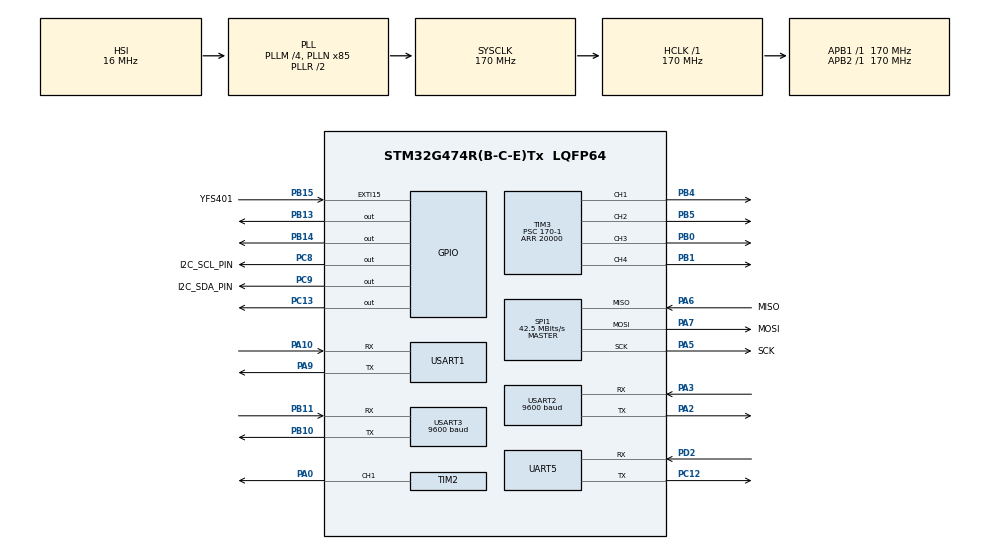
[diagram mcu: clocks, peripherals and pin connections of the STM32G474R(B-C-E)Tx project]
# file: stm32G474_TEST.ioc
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Dma.Request0=USART1_TX
Dma.Request1=USART2_TX
Dma.Request2=USART2_RX
Dma.Request3=USART3_RX
Dma.Request4=USART3_TX
Dma.USART1_TX.0.Direction=DMA_MEMORY_TO_PERIPH
Dma.USART1_TX.0.EventEnable=DISABLE
Dma.USART1_TX.0.Instance=DMA1_Channel1
Dma.USART1_TX.0.MemDataAlignment=DMA_MDATAALIGN_BYTE
Dma.USART1_TX.0.MemInc=DMA_MINC_ENABLE
Dma.USART1_TX.0.Mode=DMA_NORMAL
Dma.USART1_TX.0.PeriphDataAlignment=DMA_PDATAALIGN_BYTE
Dma.USART1_TX.0.PeriphInc=DMA_PINC_DISABLE
Dma.USART1_TX.0.Polarity=HAL_DMAMUX_REQ_GEN_RISING
Dma.USART1_TX.0.Priority=DMA_PRIORITY_LOW
Dma.USART1_TX.0.RequestNumber=1
Dma.USART1_TX.0.SignalID=NONE
Dma.USART1_TX.0.SyncEnable=DISABLE
Dma.USART1_TX.0.SyncPolarity=HAL_DMAMUX_SYNC_NO_EVENT
Dma.USART1_TX.0.SyncRequestNumber=1
Dma.USART1_TX.0.SyncSignalID=NONE
Dma.USART2_RX.2.Direction=DMA_PERIPH_TO_MEMORY
Dma.USART2_RX.2.EventEnable=DISABLE
Dma.USART2_RX.2.Instance=DMA1_Channel3
Dma.USART2_RX.2.MemDataAlignment=DMA_MDATAALIGN_BYTE
Dma.USART2_RX.2.MemInc=DMA_MINC_ENABLE
Dma.USART2_RX.2.Mode=DMA_NORMAL
Dma.USART2_RX.2.PeriphDataAlignment=DMA_PDATAALIGN_BYTE
Dma.USART2_RX.2.PeriphInc=DMA_PINC_DISABLE
Dma.USART2_RX.2.Polarity=HAL_DMAMUX_REQ_GEN_RISING
Dma.USART2_RX.2.Priority=DMA_PRIORITY_LOW
Dma.USART2_RX.2.RequestNumber=1
Dma.USART2_RX.2.SignalID=NONE
Dma.USART2_RX.2.SyncEnable=DISABLE
Dma.USART2_RX.2.SyncPolarity=HAL_DMAMUX_SYNC_NO_EVENT
Dma.USART2_RX.2.SyncRequestNumber=1
Dma.USART2_RX.2.SyncSignalID=NONE
Dma.USART2_TX.1.Direction=DMA_MEMORY_TO_PERIPH
Dma.USART2_TX.1.EventEnable=DISABLE
Dma.USART2_TX.1.Instance=DMA1_Channel2
Dma.USART2_TX.1.MemDataAlignment=DMA_MDATAALIGN_BYTE
Dma.USART2_TX.1.MemInc=DMA_MINC_ENABLE
Dma.USART2_TX.1.Mode=DMA_NORMAL
Dma.USART2_TX.1.PeriphDataAlignment=DMA_PDATAALIGN_BYTE
Dma.USART2_TX.1.PeriphInc=DMA_PINC_DISABLE
Dma.USART2_TX.1.Polarity=HAL_DMAMUX_REQ_GEN_RISING
Dma.USART2_TX.1.Priority=DMA_PRIORITY_LOW
Dma.USART2_TX.1.RequestNumber=1
Dma.USART2_TX.1.SignalID=NONE
Dma.USART2_TX.1.SyncEnable=DISABLE
Dma.USART2_TX.1.SyncPolarity=HAL_DMAMUX_SYNC_NO_EVENT
Dma.USART2_TX.1.SyncRequestNumber=1
Dma.USART2_TX.1.SyncSignalID=NONE
Dma.USART3_RX.3.Direction=DMA_PERIPH_TO_MEMORY
Dma.USART3_RX.3.EventEnable=DISABLE
Dma.USART3_RX.3.Instance=DMA1_Channel4
Dma.USART3_RX.3.MemDataAlignment=DMA_MDATAALIGN_BYTE
Dma.USART3_RX.3.MemInc=DMA_MINC_ENABLE
Dma.USART3_RX.3.Mode=DMA_NORMAL
Dma.USART3_RX.3.PeriphDataAlignment=DMA_PDATAALIGN_BYTE
Dma.USART3_RX.3.PeriphInc=DMA_PINC_DISABLE
Dma.USART3_RX.3.Polarity=HAL_DMAMUX_REQ_GEN_RISING
Dma.USART3_RX.3.Priority=DMA_PRIORITY_LOW
Dma.USART3_RX.3.RequestNumber=1
Dma.USART3_RX.3.SignalID=NONE
Dma.USART3_RX.3.SyncEnable=DISABLE
Dma.USART3_RX.3.SyncPolarity=HAL_DMAMUX_SYNC_NO_EVENT
Dma.USART3_RX.3.SyncRequestNumber=1
Dma.USART3_RX.3.SyncSignalID=NONE
Dma.USART3_TX.4.Direction=DMA_MEMORY_TO_PERIPH
Dma.USART3_TX.4.EventEnable=DISABLE
Dma.USART3_TX.4.Instance=DMA1_Channel5
Dma.USART3_TX.4.MemDataAlignment=DMA_MDATAALIGN_BYTE
Dma.USART3_TX.4.MemInc=DMA_MINC_ENABLE
Dma.USART3_TX.4.Mode=DMA_NORMAL
Dma.USART3_TX.4.PeriphDataAlignment=DMA_PDATAALIGN_BYTE
Dma.USART3_TX.4.PeriphInc=DMA_PINC_DISABLE
Dma.USART3_TX.4.Polarity=HAL_DMAMUX_REQ_GEN_RISING
Dma.USART3_TX.4.Priority=DMA_PRIORITY_LOW
Dma.USART3_TX.4.RequestNumber=1
Dma.USART3_TX.4.SignalID=NONE
Dma.USART3_TX.4.SyncEnable=DISABLE
Dma.USART3_TX.4.SyncPolarity=HAL_DMAMUX_SYNC_NO_EVENT
Dma.USART3_TX.4.SyncRequestNumber=1
Dma.USART3_TX.4.SyncSignalID=NONE
Mcu.Family=STM32G4
Mcu.Name=STM32G474R(B-C-E)Tx
Mcu.Package=LQFP64
NVIC.DMA1_Channel1_IRQn=true\:0\:0\:false\:false\:true\:false\:true\:true
NVIC.DMA1_Channel2_IRQn=true\:0\:0\:false\:false\:true\:false\:true\:true
NVIC.DMA1_Channel3_IRQn=true\:0\:0\:false\:false\:true\:false\:true\:true
NVIC.DMA1_Channel4_IRQn=true\:0\:0\:false\:false\:true\:false\:true\:true
NVIC.DMA1_Channel5_IRQn=true\:0\:0\:false\:false\:true\:false\:true\:true
NVIC.EXTI15_10_IRQn=true\:1\:0\:true\:false\:true\:true\:true\:true
NVIC.PriorityGroup=NVIC_PRIORITYGROUP_4
NVIC.TIM2_IRQn=true\:0\:0\:false\:false\:true\:true\:true\:true
NVIC.TIM3_IRQn=true\:0\:0\:false\:false\:true\:true\:true\:true
NVIC.TIM7_DAC_IRQn=true\:0\:0\:false\:false\:true\:true\:true\:true
NVIC.UART5_IRQn=true\:0\:0\:false\:false\:true\:true\:true\:true
NVIC.USART1_IRQn=true\:0\:0\:false\:false\:true\:true\:true\:true
NVIC.USART2_IRQn=true\:0\:0\:false\:false\:true\:true\:true\:true
NVIC.USART3_IRQn=true\:0\:0\:false\:false\:true\:true\:true\:true
PA0.Signal=S_TIM2_CH1
PA10.Mode=Asynchronous
PA10.Signal=USART1_RX
PA13.Mode=Serial_Wire
PA13.Signal=SYS_JTMS-SWDIO
PA14.Mode=Serial_Wire
PA14.Signal=SYS_JTCK-SWCLK
PA2.Mode=Asynchronous
PA2.Signal=USART2_TX
PA3.Mode=Asynchronous
PA3.Signal=USART2_RX
PA5.GPIO_Label=SCK
PA5.GPIO_Speed=GPIO_SPEED_FREQ_HIGH
PA5.Mode=Full_Duplex_Master
PA5.Signal=SPI1_SCK
PA6.GPIO_Label=MISO
PA6.GPIO_Speed=GPIO_SPEED_FREQ_HIGH
PA6.Mode=Full_Duplex_Master
PA6.Signal=SPI1_MISO
PA7.GPIO_Label=MOSI
PA7.GPIO_Speed=GPIO_SPEED_FREQ_HIGH
PA7.Mode=Full_Duplex_Master
PA7.Signal=SPI1_MOSI
PA9.Mode=Asynchronous
PA9.Signal=USART1_TX
PB0.Signal=S_TIM3_CH3
PB1.Signal=S_TIM3_CH4
PB10.Mode=Asynchronous
PB10.Signal=USART3_TX
PB11.Mode=Asynchronous
PB11.Signal=USART3_RX
PB13.Signal=GPIO_Output
PB14.Signal=GPIO_Output
PB15.GPIO_Label=YFS401
PB15.GPIO_ModeDefaultEXTI=GPIO_MODE_IT_FALLING
PB15.GPIO_PuPd=GPIO_PULLUP
PB15.Signal=GPXTI15
PB4.Signal=S_TIM3_CH1
PB5.Signal=S_TIM3_CH2
PC12.Mode=Asynchronous
PC12.Signal=UART5_TX
PC13.Signal=GPIO_Output
PC8.GPIO_Label=I2C_SCL_PIN
PC8.GPIO_ModeDefaultOutputPP=GPIO_MODE_OUTPUT_OD
PC8.GPIO_PuPd=GPIO_PULLUP
PC8.GPIO_Speed=GPIO_SPEED_FREQ_VERY_HIGH
PC8.Signal=GPIO_Output
PC9.GPIO_Label=I2C_SDA_PIN
PC9.GPIO_ModeDefaultOutputPP=GPIO_MODE_OUTPUT_OD
PC9.GPIO_PuPd=GPIO_PULLUP
PC9.GPIO_Speed=GPIO_SPEED_FREQ_VERY_HIGH
PC9.Signal=GPIO_Output
PD2.Mode=Asynchronous
PD2.Signal=UART5_RX
PF0-OSC_IN.Mode=HSE-External-Oscillator
PF0-OSC_IN.Signal=RCC_OSC_IN
PF1-OSC_OUT.Mode=HSE-External-Oscillator
PF1-OSC_OUT.Signal=RCC_OSC_OUT
ProjectManager.HeapSize=0x200
ProjectManager.StackSize=0x400
ProjectManager.TargetToolchain=MDK-ARM V5.32
RCC.ADC12Freq_Value=170000000
RCC.ADC345Freq_Value=170000000
RCC.AHBFreq_Value=170000000
RCC.APB1Freq_Value=170000000
RCC.APB1TimFreq_Value=170000000
RCC.APB2Freq_Value=170000000
RCC.APB2TimFreq_Value=170000000
RCC.CortexFreq_Value=170000000
RCC.EXTERNAL_CLOCK_VALUE=12288000
RCC.HCLKFreq_Value=170000000
RCC.HSE_VALUE=8000000
RCC.HSI48_VALUE=48000000
RCC.HSI_VALUE=16000000
RCC.LSE_VALUE=32768
RCC.PLLM=RCC_PLLM_DIV4
RCC.PLLN=85
RCC.SYSCLKFreq_VALUE=170000000
RCC.SYSCLKSource=RCC_SYSCLKSOURCE_PLLCLK
RCC.USBFreq_Value=170000000
RCC.VCOOutputFreq_Value=340000000
SH.S_TIM2_CH1.0=TIM2_CH1,PWM Generation1 CH1
SH.S_TIM3_CH1.0=TIM3_CH1,PWM Generation1 CH1
SH.S_TIM3_CH2.0=TIM3_CH2,PWM Generation2 CH2
SH.S_TIM3_CH3.0=TIM3_CH3,PWM Generation3 CH3
SH.S_TIM3_CH4.0=TIM3_CH4,PWM Generation4 CH4
SPI1.BaudRatePrescaler=SPI_BAUDRATEPRESCALER_4
SPI1.CLKPhase=SPI_PHASE_2EDGE
SPI1.CLKPolarity=SPI_POLARITY_HIGH
SPI1.CalculateBaudRate=42.5 MBits/s
SPI1.DataSize=SPI_DATASIZE_8BIT
SPI1.Direction=SPI_DIRECTION_2LINES
SPI1.Mode=SPI_MODE_MASTER
SPI1.VirtualType=VM_MASTER
TIM2.Channel-PWM\ Generation1\ CH1=TIM_CHANNEL_1
TIM2.PeriodNoDither=999
TIM2.Prescaler=169
TIM3.Channel-PWM\ Generation1\ CH1=TIM_CHANNEL_1
TIM3.Channel-PWM\ Generation2\ CH2=TIM_CHANNEL_2
TIM3.Channel-PWM\ Generation3\ CH3=TIM_CHANNEL_3
TIM3.Channel-PWM\ Generation4\ CH4=TIM_CHANNEL_4
TIM3.OCMode_PWM-PWM\ Generation1\ CH1=TIM_OCMODE_PWM1
TIM3.PeriodNoDither=20000
TIM3.Prescaler=170-1
TIM7.PeriodNoDither=9999
TIM7.Prescaler=16999
USART1.VirtualMode-Asynchronous=VM_ASYNC
USART2.BaudRate=9600
USART2.VirtualMode-Asynchronous=VM_ASYNC
USART3.BaudRate=9600
USART3.VirtualMode-Asynchronous=VM_ASYNC
VP_SYS_VS_DBSignals.Mode=DisableDeadBatterySignals
VP_SYS_V_VREFBUF.Mode=ExternalMode
VP_TIM2_VS_ClockSourceINT.Mode=Internal
VP_TIM3_VS_ClockSourceINT.Mode=Internal
VP_TIM7_VS_ClockSourceINT.Mode=Enable_Timer
board=custom

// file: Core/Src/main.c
/* USER CODE BEGIN Header */
/**
  ******************************************************************************
  * @file           : main.c
  * @brief          : Main program body
  ******************************************************************************
  * @attention
  *
  * Copyright (c) 2026 STMicroelectronics.
  * All rights reserved.
  *
  * This software is licensed under terms that can be found in the LICENSE file
  * in the root directory of this software component.
  * If no LICENSE file comes with this software, it is provided AS-IS.
  *
  ******************************************************************************
  */
/* USER CODE END Header */
#include "main.h"
#include "dma.h"
#include "spi.h"
#include "tim.h"
#include "usart.h"
#include "gpio.h"

/* USER CODE BEGIN Includes */
#include "HC_05.h"
#include "software_I2C.h"
#include "bsp_oled.h"
#include "SHT40.h"
#include <stdio.h>
#include <string.h>
#include "My_PWM.h"
#include "flow_sensor.h"
#include "tjc_usart_hmi.h"

extern void LED_SetBrightness(uint8_t level);

/* USER CODE END Includes */

/* USER CODE BEGIN PTD */
//啊啊啊啊
/* USER CODE END PTD */

/* USER CODE BEGIN PV */
#define RX_BUFFER_SIZE 100
uint8_t rx_single_byte;
uint8_t rx_buffer[RX_BUFFER_SIZE];
uint16_t rx_index = 0;
uint8_t rx_complete_flag = 0;

typedef struct {
    uint8_t enable;
    uint8_t target_flow_digit1;
    uint8_t target_flow_digit2;
    uint8_t target_flow_digit3;
    uint32_t target_flow;
    uint8_t motor_running;
} SprayControl_t;
SprayControl_t spray_control = {0};

/* USER CODE END PV */

void SystemClock_Config(void);

int main(void)
{

  /* MCU Configuration--------------------------------------------------------*/

  /* Reset of all peripherals, Initializes the Flash interface and the Systick. */
  HAL_Init();

  /* Configure the system clock */
  SystemClock_Config();

  /* Initialize all configured peripherals */
  MX_GPIO_Init();
  MX_DMA_Init();
  MX_USART1_UART_Init();
  MX_USART2_UART_Init();
  MX_USART3_UART_Init();
  MX_SPI1_Init();
  MX_TIM3_Init();
  MX_TIM7_Init();
  MX_UART5_Init();
  MX_TIM2_Init();
  /* USER CODE BEGIN 2 */
		MyI2C_Init();
    LOG_I("Start initialization...");
    PWM_Init();		        // 先初始化PWM，启动TIM3通道
    LOG_I("PWM_Init done");
    Motor_Stop();           // 先停止电机，关闭方向GPIO
    dianji_zhuan_one(0);   // 电机1初始停止（PWM设为0）
    LOG_I("dianji_zhuan_one(0) done");
		dianji_zhuan_two(0);   // 电机2初始停止
    LOG_I("dianji_zhuan_two(0) done");
		OLED_Init();
		OLED_Clear();
		SHT40_Init(SHT40_MODE_MANUAL);
		flow_sensor_Init();
		initRingBuffer();
		USART_RX_STA = 0;
		memset(USART_RX_BUF, 0, sizeof(USART_RX_BUF));
    HAL_UART_Receive_IT(&huart5, RxBuffer, 1);
		uint8_t t;
    uint8_t len;
    uint16_t times = 0;

int test_num = 0;
float test_float = 0;
HAL_TIM_PWM_Start(&htim2, TIM_CHANNEL_1);

  /* USER CODE END 2 */

  /* Infinite loop */
  /* USER CODE BEGIN WHILE */

  while (1)
    {
        // 每秒读取一次流量（由TIM7中断触发）
        if(golbal_flow.receive_flag) {
            Flow_Read();
        }
//		duoji_zhuan_one(90);
		 if (USART_RX_STA & 0x8000) {
            len = USART_RX_STA & 0x3fff;
			 if(USART_RX_BUF[0]=='L')
			 {
         uint8_t brightness=0;
    sscanf((char*)&USART_RX_BUF[1], "%hhu", &brightness);
    LED_SetBrightness(brightness);
			 }
  else if (USART_RX_BUF[0] == '1') // 0x31
            {
							LOG_I("%s",USART_RX_BUF);
                duoji_zhuan_one(90);

            }
 else if (USART_RX_BUF[0] == '2') // 0x32
            {
                duoji_zhuan_one(0);

            }
  else if (USART_RX_BUF[0] == '3') // 0x33
            {
               duoji_zhuan_two(90);

            }
	else if (USART_RX_BUF[0] == '4') // 0x34
            {
                duoji_zhuan_two(0);

            }
			else if (USART_RX_BUF[0] == 'w')
            {
                LOG_I("w command received, len=%d, buf=%s", len, USART_RX_BUF);
                spray_control.target_flow = 0;
                spray_control.motor_running = 0;

                uint32_t flow_value = 0;
                if (len == 3) {
                    flow_value = (USART_RX_BUF[1] - '0') * 10 + (USART_RX_BUF[2] - '0');
                    LOG_I("len=3, parsed flow_value=%lu from %c%c", flow_value, USART_RX_BUF[1], USART_RX_BUF[2]);
                } else if (len == 4) {
                    flow_value = (USART_RX_BUF[1] - '0') * 100 + (USART_RX_BUF[2] - '0') * 10 + (USART_RX_BUF[3] - '0');
                    LOG_I("len=4, parsed flow_value=%lu from %c%c%c", flow_value, USART_RX_BUF[1], USART_RX_BUF[2], USART_RX_BUF[3]);
                } else if (len == 5) {
                    flow_value = (USART_RX_BUF[1] - '0') * 10 + (USART_RX_BUF[2] - '0');
                    LOG_I("len=5, parsed flow_value=%lu from %c%c", flow_value, USART_RX_BUF[1], USART_RX_BUF[2]);
                } else {
                    LOG_I("len=%d, flow_value=0 (default)", len);
                }
                LOG_I("Final flow_value=%lu", flow_value);
                spray_control.target_flow = flow_value;

                if (flow_value > 0)
                {
                    LOG_I("Flow > 0, starting motor speed=100");
                    dianji_zhuan_one(100);
                    spray_control.motor_running = 1;
                } else if (flow_value == 0) {
                    LOG_I("Flow = 0, STOPPING motor");
                    dianji_zhuan_one(0);
                    Motor_Stop();
                    spray_control.motor_running = 0;
                }

                if (flow_value == 0) {
                    LOG_I("Updating t4 to STOP");
                    uint8_t stop_msg[] = "t4.txt=\"\xcd\xa3\xd6\xb9\"";
                    tjc_send_nstring((char*)stop_msg, sizeof(stop_msg)-1);
                } else if (flow_value == 30) {
                    LOG_I("Updating t4 to LOW");
                    uint8_t low_msg[] = "t4.txt=\"\xb5\xcd\xc5\xe8\xc1\xbf\"";
                    tjc_send_nstring((char*)low_msg, sizeof(low_msg)-1);
                } else if (flow_value == 60) {
                    LOG_I("Updating t4 to MID");
                    uint8_t mid_msg[] = "t4.txt=\"\xd6\xd0\xc5\xe8\xc1\xbf\"";
                    tjc_send_nstring((char*)mid_msg, sizeof(mid_msg)-1);
                } else if (flow_value == 90) {
                    LOG_I("Updating t4 to HIGH");
                    uint8_t high_msg[] = "t4.txt=\"\xb8\xdf\xc5\xe8\xc1\xbf\"";
                    tjc_send_nstring((char*)high_msg, sizeof(high_msg)-1);
                } else {
                    LOG_I("flow_value=%lu, no t4 update", flow_value);
                }
            }
            USART_RX_STA = 0;
        } else {
                if (spray_control.motor_running && spray_control.target_flow >= 0 && (uint32_t)golbal_flow.acculat >= spray_control.target_flow)
                {
                    dianji_zhuan_one(0);
                    Motor_Stop();
                    spray_control.motor_running = 0;
                    tjc_send_string("page 3");
                    uint8_t complete_msg[] = "t3.txt=\"\xcd\xea\xb3\xc9\"";
                    tjc_send_nstring((char*)complete_msg, sizeof(complete_msg)-1);
                    LOG_I("Spray completed, flow reached: %.2f mL, target: %lu mL", golbal_flow.acculat, spray_control.target_flow);
                }
            }

    /* USER CODE END WHILE */

  }
}

void SystemClock_Config(void)
{
  RCC_OscInitTypeDef RCC_OscInitStruct = {0};
  RCC_ClkInitTypeDef RCC_ClkInitStruct = {0};

  /** Configure the main internal regulator output voltage
  */
  HAL_PWREx_ControlVoltageScaling(PWR_REGULATOR_VOLTAGE_SCALE1_BOOST);

  /** Initializes the RCC Oscillators according to the specified parameters
  * in the RCC_OscInitTypeDef structure.
  */
  RCC_OscInitStruct.OscillatorType = RCC_OSCILLATORTYPE_HSI;
  RCC_OscInitStruct.HSIState = RCC_HSI_ON;
  RCC_OscInitStruct.HSICalibrationValue = RCC_HSICALIBRATION_DEFAULT;
  RCC_OscInitStruct.PLL.PLLState = RCC_PLL_ON;
  RCC_OscInitStruct.PLL.PLLSource = RCC_PLLSOURCE_HSI;
  RCC_OscInitStruct.PLL.PLLM = RCC_PLLM_DIV4;
  RCC_OscInitStruct.PLL.PLLN = 85;
  RCC_OscInitStruct.PLL.PLLP = RCC_PLLP_DIV2;
  RCC_OscInitStruct.PLL.PLLQ = RCC_PLLQ_DIV2;
  RCC_OscInitStruct.PLL.PLLR = RCC_PLLR_DIV2;
  if (HAL_RCC_OscConfig(&RCC_OscInitStruct) != HAL_OK)
  {
    Error_Handler();
  }

  /** Initializes the CPU, AHB and APB buses clocks
  */
  RCC_ClkInitStruct.ClockType = RCC_CLOCKTYPE_HCLK|RCC_CLOCKTYPE_SYSCLK
                              |RCC_CLOCKTYPE_PCLK1|RCC_CLOCKTYPE_PCLK2;
  RCC_ClkInitStruct.SYSCLKSource = RCC_SYSCLKSOURCE_PLLCLK;
  RCC_ClkInitStruct.AHBCLKDivider = RCC_SYSCLK_DIV1;
  RCC_ClkInitStruct.APB1CLKDivider = RCC_HCLK_DIV1;
  RCC_ClkInitStruct.APB2CLKDivider = RCC_HCLK_DIV1;

  if (HAL_RCC_ClockConfig(&RCC_ClkInitStruct, FLASH_LATENCY_4) != HAL_OK)
  {
    Error_Handler();
  }
}

/* USER CODE BEGIN 4 */
int fputc(int ch, FILE *f)
{
    uint8_t temp = ch;
    HAL_UART_Transmit(&huart1, &temp, 1, 10);
    return ch;
}

// 统一串口5接收：屏幕 + 舵机 都能用
void HAL_UART_RxCpltCallback(UART_HandleTypeDef *huart)
{
    if(huart == &huart5)
    {
        // 先存数据到舵机的缓冲区
        if(USART_RX_STA < 100)
        {
            USART_RX_BUF[USART_RX_STA++] = RxBuffer[0];
            LOG_I("UART rx: 0x%02X ('%c'), sta=%d", RxBuffer[0], RxBuffer[0], USART_RX_STA);
            // 收到换行，代表一帧结束（你发1、2、3、4加回车）
            if(RxBuffer[0] == '\n' || RxBuffer[0] == '\r')
            {
                USART_RX_STA |= 0x8000;
            }
        }

        // 给屏幕用
        HAL_UART_RxCpltCallback_0(huart);
    }
}
/* USER CODE END 4 */

void Error_Handler(void)
{
  __disable_irq();
  while (1)
  {
  }
}
